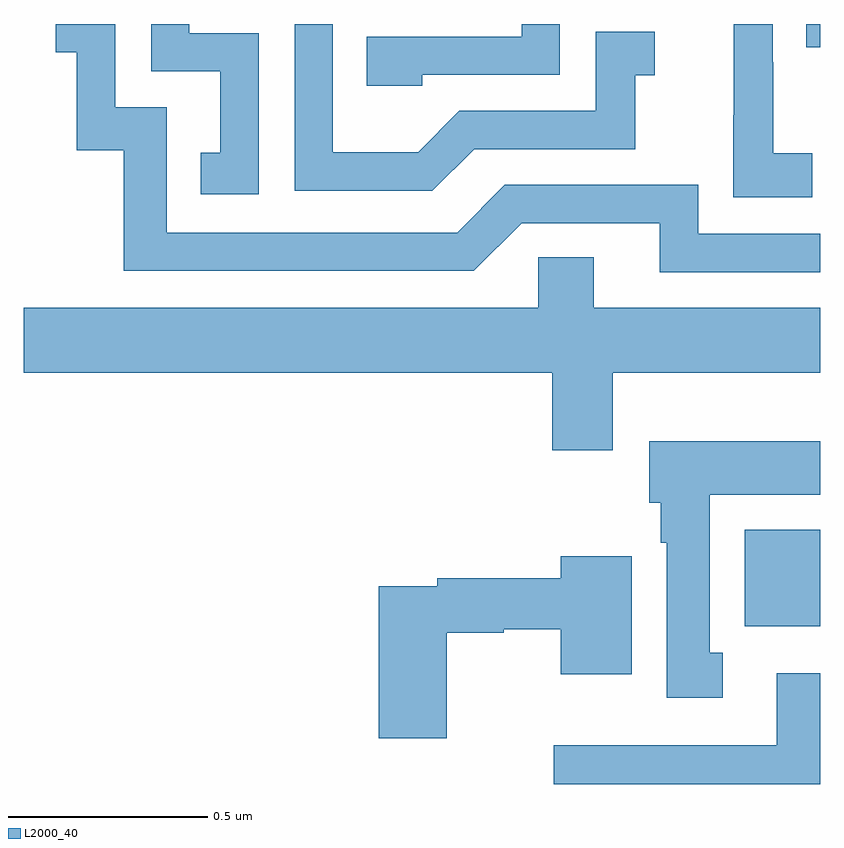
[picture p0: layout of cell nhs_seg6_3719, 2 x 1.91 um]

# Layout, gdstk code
import gdstk
lib = gdstk.Library(unit=1e-6, precision=1e-09)
def R(c, l, rs):  # rectangles x0, y0, x1, y1
    for r in rs: c.add(gdstk.rectangle(r[:2], r[2:], *l))
def P(c, l, *ps):  # polygons
    for p in ps: c.add(gdstk.Polygon(p, *l))
L2000_40 = (2000, 40)

nhs_seg6_3719 = lib.new_cell('nhs_seg6_3719')
R(nhs_seg6_3719, L2000_40, [(161.81,991.988,162,992.23), (161.965,993.442,162,993.5)])
P(nhs_seg6_3719, L2000_40, [(160.59,993.477),(160.416,993.477),(160.416,993.5),(160.32,993.5),(160.32,993.381),(160.493,993.381),(160.493,993.177),(160.444,993.177),(160.444,993.072),(160.59,993.072)],
  [(161.131,993.186),(161.535,993.186),(161.535,993.371),(161.584,993.371),(161.584,993.481),(161.436,993.481),(161.436,993.282),(161.094,993.282),(160.99,993.178),(160.776,993.178),(160.776,993.5),(160.68,993.5),(160.68,993.081),(161.026,993.081)],
  [(161.001,993.372),(161.346,993.372),(161.346,993.5),(161.25,993.5),(161.25,993.468),(160.861,993.468),(160.861,993.345),(161.001,993.345)],
  [(161.98,993.175),(161.882,993.175),(161.882,993.404),(161.88,993.404),(161.88,993.5),(161.783,993.5),(161.783,993.271),(161.782,993.271),(161.782,993.065),(161.98,993.065)],
  [(162,992.973),(161.694,992.973),(161.694,993.096),(161.208,993.096),(161.088,992.976),(160.359,992.976),(160.359,993.291),(160.23,993.291),(160.23,993.5),(160.08,993.5),(160.08,993.429),(160.133,993.429),(160.133,993.183),(160.251,993.183),(160.251,992.88),(161.13,992.88),(161.25,993),(161.597,993),(161.597,992.877),(162,992.877)],
  [(161.479,992.624),(162,992.624),(162,992.788),(161.431,992.788),(161.431,992.915),(161.292,992.915),(161.292,992.788),(160,992.788),(160,992.624),(161.327,992.624),(161.327,992.43),(161.479,992.43)],
  [(161.755,991.922),(161.722,991.922),(161.722,992.318),(162,992.318),(162,992.452),(161.57,992.452),(161.57,992.298),(161.6,992.298),(161.6,992.198),(161.615,992.198),(161.615,991.809),(161.755,991.809)],
  [(161.062,991.972),(161.205,991.972),(161.205,991.98),(161.348,991.98),(161.348,991.868),(161.527,991.868),(161.527,992.164),(161.348,992.164),(161.348,992.108),(161.038,992.108),(161.038,992.088),(160.892,992.088),(160.892,991.707),(161.062,991.707)],
  [(162,991.87),(161.891,991.87),(161.891,991.689),(161.331,991.689),(161.331,991.592),(162,991.592)])

lib.write_gds('nhs_seg6_3719.gds')
